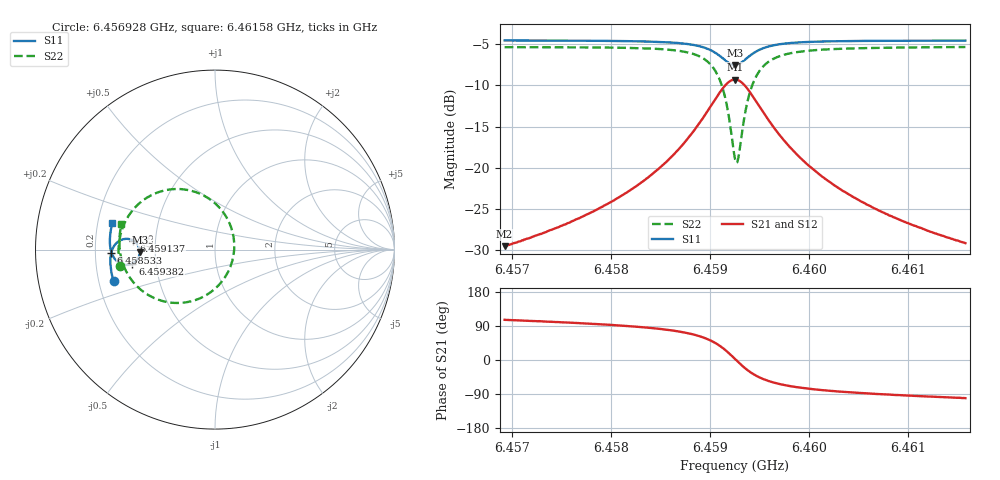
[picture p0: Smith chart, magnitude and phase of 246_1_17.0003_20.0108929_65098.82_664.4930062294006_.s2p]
#  HZ  S  RI  R  50.00
! Rohde & Schwarz Vector Network Analyzer
! Rohde-Schwarz,ZNB20-2Port,1311601062101988,3.16
! Created: UTC 3/20/2024, 11:03:04 PM
! freq[Hz]  re:S11  im:S11  re:S21  im:S21  re:S12  im:S12  re:S22  im:S22
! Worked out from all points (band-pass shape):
!   401 points, 6.456928 GHz to 6.46158 GHz, reference 50 ohm
!   highest |S21| = -9.30 dB at 6.459254 GHz (marker M1); lowest = -29.5 dB at 6.456928 GHz (marker M2)
!   |S21| within 3 dB of the highest: 6.459021 GHz to 6.459486 GHz (464.7 kHz wide, 0.00719 % of centre)
!   lowest |S11| = -7.5 dB at 6.459254 GHz (marker M3), VSWR 2.44, Z = 20.5 - j0.618 ohm
!   |S11| at or under -10 dB: nowhere
!   |S22| runs from -19.4 to -5.3 dB; largest |S21 - S12| = 0.013
!   S11 on the Smith chart (normalised r, x): 6.456928 GHz: 0.26, -0.14; 6.458533 GHz: 0.27, -0.01; 6.459137 GHz: 0.37, +0.05; 6.459382 GHz: 0.37, -0.07; 6.46158 GHz: 0.26, +0.12
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6.4569276e9  -0.5651 -0.1769  -0.00921 0.0321  -0.00749 0.032  -0.5309 -0.0931
6.4577069e9  -0.5799 -0.109  -0.00603 0.0499  -0.00342 0.0493  -0.5376 -0.00257
6.4581255e9  -0.5832 -0.0674  -0.000594 0.0687  0.00269 0.0673  -0.5308 0.0631
6.4584861e9  -0.5797 -0.0248  0.0132 0.098  0.0172 0.0954  -0.5059 0.143
6.4585326e9  -0.5785 -0.0184  0.0166 0.1034  0.0206 0.1005  -0.4996 0.1563
6.4587535e9  -0.5653 0.0154  0.0446 0.1373  0.0487 0.1324  -0.4473 0.2327
6.4589047e9  -0.5428 0.0418  0.0893 0.1679  0.0926 0.1612  -0.3651 0.2976
6.4590443e9  -0.4994 0.0599  0.1758 0.185  0.1768 0.1776  -0.2071 0.3376
6.4591373e9  -0.455 0.0499  0.2654 0.1546  0.2657 0.1486  -0.0411 0.2889
6.4591839e9  -0.4341 0.0312  0.309 0.1121  0.3104 0.1068  0.0419 0.2135
6.4592536e9  -0.4192 -0.0125  0.3424 0.016  0.3462 0.00902  0.1072 0.0351
6.4592653e9  -0.4196 -0.0205  0.3423 -0.00168  0.3463 -0.00936  0.1071 0.0017
6.4592885e9  -0.423 -0.0359  0.337 -0.0362  0.3409 -0.0453  0.0962 -0.0638
6.459335e9  -0.4385 -0.0618  0.3089 -0.0959  0.311 -0.1075  0.0394 -0.1762
6.4593816e9  -0.4604 -0.078  0.2673 -0.1367  0.2666 -0.1498  -0.0445 -0.2509
6.4594746e9  -0.5034 -0.0846  0.1833 -0.1679  0.1774 -0.1794  -0.2118 -0.2973
6.4596258e9  -0.547 -0.0644  0.0962 -0.1546  0.0879 -0.1608  -0.3781 -0.2492
6.4597886e9  -0.5684 -0.0367  0.0516 -0.1273  0.0441 -0.13  -0.4582 -0.1781
6.4600328e9  -0.5811 -0.00115  0.0225 -0.0961  0.0169 -0.0968  -0.5064 -0.0962
6.4603817e9  -0.5857 0.0401  0.00658 -0.0698  0.00247 -0.0692  -0.5281 -0.0173
6.460812e9  -0.5838 0.0831  -0.00109 -0.0512  -0.00404 -0.0506  -0.5327 0.051
6.4615796e9  -0.5717 0.1509  -0.00643 -0.0342  -0.00813 -0.0333  -0.5216 0.1413
